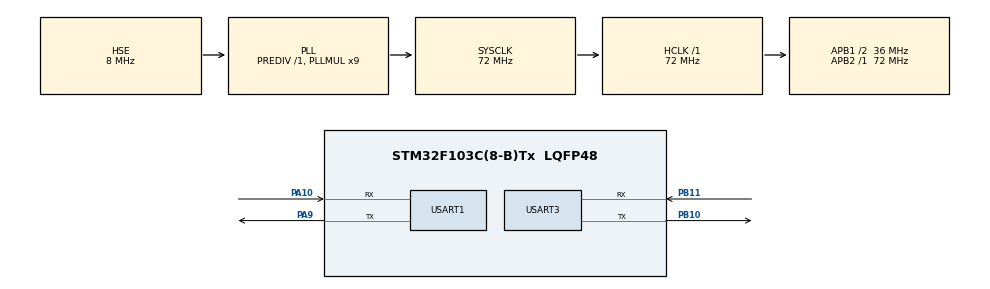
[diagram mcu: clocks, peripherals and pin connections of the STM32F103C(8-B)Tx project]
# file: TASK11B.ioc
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Mcu.Family=STM32F1
Mcu.Name=STM32F103C(8-B)Tx
Mcu.Package=LQFP48
NVIC.PriorityGroup=NVIC_PRIORITYGROUP_4
NVIC.USART1_IRQn=true\:0\:0\:false\:false\:true\:true\:true\:true
NVIC.USART3_IRQn=true\:0\:0\:false\:false\:true\:true\:true\:true
PA10.Mode=Asynchronous
PA10.Signal=USART1_RX
PA13.Mode=Serial_Wire
PA13.Signal=SYS_JTMS-SWDIO
PA14.Mode=Serial_Wire
PA14.Signal=SYS_JTCK-SWCLK
PA9.Mode=Asynchronous
PA9.Signal=USART1_TX
PB10.Mode=Asynchronous
PB10.Signal=USART3_TX
PB11.Mode=Asynchronous
PB11.Signal=USART3_RX
PD0-OSC_IN.Mode=HSE-External-Oscillator
PD0-OSC_IN.Signal=RCC_OSC_IN
PD1-OSC_OUT.Mode=HSE-External-Oscillator
PD1-OSC_OUT.Signal=RCC_OSC_OUT
ProjectManager.HeapSize=0x200
ProjectManager.StackSize=0x400
ProjectManager.TargetToolchain=MDK-ARM V5.32
RCC.AHBFreq_Value=72000000
RCC.APB1CLKDivider=RCC_HCLK_DIV2
RCC.APB1Freq_Value=36000000
RCC.APB1TimFreq_Value=72000000
RCC.APB2Freq_Value=72000000
RCC.APB2TimFreq_Value=72000000
RCC.HCLKFreq_Value=72000000
RCC.PLLMUL=RCC_PLL_MUL9
RCC.PLLSourceVirtual=RCC_PLLSOURCE_HSE
RCC.SYSCLKFreq_VALUE=72000000
RCC.SYSCLKSource=RCC_SYSCLKSOURCE_PLLCLK
RCC.USBFreq_Value=72000000
USART1.VirtualMode=VM_ASYNC
USART3.VirtualMode=VM_ASYNC
board=custom

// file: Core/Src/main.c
/* USER CODE BEGIN Header */
/**
  ******************************************************************************
  * @file           : main.c
  * @brief          : Main program body
  ******************************************************************************
  * @attention
  *
  * Copyright (c) 2026 STMicroelectronics.
  * All rights reserved.
  *
  * This software is licensed under terms that can be found in the LICENSE file
  * in the root directory of this software component.
  * If no LICENSE file comes with this software, it is provided AS-IS.
  *
  ******************************************************************************
  */
/* USER CODE END Header */
#include "main.h"

/* USER CODE BEGIN Includes */
#include <stdio.h>
#include <string.h>
/* USER CODE END Includes */

UART_HandleTypeDef huart1;
UART_HandleTypeDef huart3;

void SystemClock_Config(void);
static void MX_GPIO_Init(void);
static void MX_USART1_UART_Init(void);
static void MX_USART3_UART_Init(void);
/* USER CODE BEGIN PFP */

void send_cmds(char *cmd, uint32_t total_wait_time);
void wifi_connection(void);
void http_server_connection_static(void);
void http_server_connection_dynamic(void);
/* USER CODE END PFP */

int main(void)
{

  /* MCU Configuration--------------------------------------------------------*/

  /* Reset of all peripherals, Initializes the Flash interface and the Systick. */
  HAL_Init();

  /* Configure the system clock */
  SystemClock_Config();

  /* Initialize all configured peripherals */
  MX_GPIO_Init();
  MX_USART1_UART_Init();
  MX_USART3_UART_Init();
  /* USER CODE BEGIN 2 */

wifi_connection();
  /* USER CODE END 2 */

  /* Infinite loop */
  while (1)
  {
    /* USER CODE BEGIN 3 */
		//http_server_connection_static();
		http_server_connection_dynamic();
  }
  /* USER CODE END 3 */
}

void SystemClock_Config(void)
{
  RCC_OscInitTypeDef RCC_OscInitStruct = {0};
  RCC_ClkInitTypeDef RCC_ClkInitStruct = {0};

  /** Initializes the RCC Oscillators according to the specified parameters
  * in the RCC_OscInitTypeDef structure.
  */
  RCC_OscInitStruct.OscillatorType = RCC_OSCILLATORTYPE_HSE;
  RCC_OscInitStruct.HSEState = RCC_HSE_ON;
  RCC_OscInitStruct.HSEPredivValue = RCC_HSE_PREDIV_DIV1;
  RCC_OscInitStruct.HSIState = RCC_HSI_ON;
  RCC_OscInitStruct.PLL.PLLState = RCC_PLL_ON;
  RCC_OscInitStruct.PLL.PLLSource = RCC_PLLSOURCE_HSE;
  RCC_OscInitStruct.PLL.PLLMUL = RCC_PLL_MUL9;
  if (HAL_RCC_OscConfig(&RCC_OscInitStruct) != HAL_OK)
  {
    Error_Handler();
  }

  /** Initializes the CPU, AHB and APB buses clocks
  */
  RCC_ClkInitStruct.ClockType = RCC_CLOCKTYPE_HCLK|RCC_CLOCKTYPE_SYSCLK
                              |RCC_CLOCKTYPE_PCLK1|RCC_CLOCKTYPE_PCLK2;
  RCC_ClkInitStruct.SYSCLKSource = RCC_SYSCLKSOURCE_PLLCLK;
  RCC_ClkInitStruct.AHBCLKDivider = RCC_SYSCLK_DIV1;
  RCC_ClkInitStruct.APB1CLKDivider = RCC_HCLK_DIV2;
  RCC_ClkInitStruct.APB2CLKDivider = RCC_HCLK_DIV1;

  if (HAL_RCC_ClockConfig(&RCC_ClkInitStruct, FLASH_LATENCY_2) != HAL_OK)
  {
    Error_Handler();
  }
}

static void MX_USART1_UART_Init(void)
{

  huart1.Instance = USART1;
  huart1.Init.BaudRate = 115200;
  huart1.Init.WordLength = UART_WORDLENGTH_8B;
  huart1.Init.StopBits = UART_STOPBITS_1;
  huart1.Init.Parity = UART_PARITY_NONE;
  huart1.Init.Mode = UART_MODE_TX_RX;
  huart1.Init.HwFlowCtl = UART_HWCONTROL_NONE;
  huart1.Init.OverSampling = UART_OVERSAMPLING_16;
  if (HAL_UART_Init(&huart1) != HAL_OK)
  {
    Error_Handler();
  }

}

static void MX_USART3_UART_Init(void)
{

  huart3.Instance = USART3;
  huart3.Init.BaudRate = 115200;
  huart3.Init.WordLength = UART_WORDLENGTH_8B;
  huart3.Init.StopBits = UART_STOPBITS_1;
  huart3.Init.Parity = UART_PARITY_NONE;
  huart3.Init.Mode = UART_MODE_TX_RX;
  huart3.Init.HwFlowCtl = UART_HWCONTROL_NONE;
  huart3.Init.OverSampling = UART_OVERSAMPLING_16;
  if (HAL_UART_Init(&huart3) != HAL_OK)
  {
    Error_Handler();
  }

}

static void MX_GPIO_Init(void)
{

  /* GPIO Ports Clock Enable */
  __HAL_RCC_GPIOD_CLK_ENABLE();
  __HAL_RCC_GPIOB_CLK_ENABLE();
  __HAL_RCC_GPIOA_CLK_ENABLE();

}

/* USER CODE BEGIN 4 */
void send_cmds(char *cmd, uint32_t total_wait_time) {
	char send[100];

	snprintf(send,sizeof(send), "\r\n : %s",cmd);

	HAL_UART_Transmit(&huart3,(uint8_t *)send,strlen(send),HAL_MAX_DELAY);

	HAL_UART_Transmit(&huart1,(uint8_t *)cmd,strlen(cmd),HAL_MAX_DELAY);

	uint8_t rx_byte;
	uint32_t overall_start = HAL_GetTick();
	uint32_t last_byte_time = HAL_GetTick();

	const uint32_t idle_time = 50;

	while((HAL_GetTick() - overall_start) < total_wait_time) {
		if(HAL_UART_Receive(&huart1,&rx_byte,1,10) == HAL_OK) {

			HAL_UART_Transmit(&huart3,&rx_byte,1,HAL_MAX_DELAY);
			last_byte_time = HAL_GetTick();
		} else if((HAL_GetTick() - last_byte_time) > idle_time) {
			break;
		}
	}
}

void wifi_connection(void) {

	HAL_Delay(2000);

	//Check and get >OK
	send_cmds("AT\r\n",1000);
	HAL_Delay(1000);

	//Set Mode to Station
	send_cmds("AT+CWMODE=1\r\n",1000);
	HAL_Delay(1000);

	//Join Access Point, Connect to WIFI Network
	send_cmds("AT+CWJAP=\"SNUC\", \"snu12345\"\r\n",12000);
	HAL_Delay(1000);

	//Get IP Address
	send_cmds("AT+CIFSR\r\n",3000);
	HAL_Delay(1000);

	//Enable multiple connections
	send_cmds("AT+CIPMUX=1\r\n",1000);
	HAL_Delay(1000);

	//Start server to port 80
	send_cmds("AT+CIPSERVER=1,80\r\n",3000);
	HAL_Delay(1000);

	//Completed Message
	char *ready_msg = "\r\nSetup Complete\r\n";
  HAL_UART_Transmit(&huart3, (uint8_t*)ready_msg, strlen(ready_msg), HAL_MAX_DELAY);
}

/*void http_server_connection_static(void) {
    char rx_data[150];
    int rx_index = 0;
    uint32_t start_tick = HAL_GetTick();

    // Listen for data from ESP8266 for up to 100ms
    while ((HAL_GetTick() - start_tick) < 100) {
        uint8_t byte;
        if (HAL_UART_Receive(&huart1, &byte, 1, 10) == HAL_OK) {
            if (rx_index < sizeof(rx_data) - 1) {
                rx_data[rx_index++] = byte;
                rx_data[rx_index] = '\0';
            }
        }
    }

    // Check if an incoming HTTP request (+IPD) arrived from a browser
    char *ipd_ptr = strstr(rx_data, "+IPD,");
    if (ipd_ptr != NULL) {
        int link_id = 0;
        sscanf(ipd_ptr, "+IPD,%d,", &link_id);

        // --- STATIC HTML CONTENT ---
        char html_body[] = "<html><body><h1>Hello from STM32 Static Server!</h1><p>STATIC DATA.</p></body></html>";
        int len = strlen(html_body); // Simply measure the fixed length

        // Construct full HTTP response headers + static body
        char http_response[300];
        int total_len = snprintf(http_response, sizeof(http_response),
            "HTTP/1.1 200 OK\r\n"
            "Content-Type: text/html\r\n"
            "Content-Length: %d\r\n\r\n"
            "%s", len, html_body);

        // Send length command to ESP8266
        char send_cmd[30];
        snprintf(send_cmd, sizeof(send_cmd), "AT+CIPSEND=%d,%d\r\n", link_id, total_len);
        HAL_UART_Transmit(&huart1, (uint8_t*)send_cmd, strlen(send_cmd), HAL_MAX_DELAY);
        HAL_Delay(50);

        // Send the HTTP response
        HAL_UART_Transmit(&huart1, (uint8_t*)http_response, total_len, HAL_MAX_DELAY);
        HAL_Delay(50);

        // Close connection
        char close_cmd[30];
        snprintf(close_cmd, sizeof(close_cmd), "AT+CIPCLOSE=%d\r\n", link_id);
        HAL_UART_Transmit(&huart1, (uint8_t*)close_cmd, strlen(close_cmd), HAL_MAX_DELAY);
    }
} */

void http_server_connection_dynamic(void) {

	char rx_data[100] = {0};
	char rx_index = 0;
	uint32_t start_tick = HAL_GetTick();

//Listen for data from ESP8266 for 200ms
	while((HAL_GetTick() - start_tick) < 200) {
		uint8_t byte;

		if(HAL_UART_Receive(&huart1,&byte,1,10) == HAL_OK) {
			if(rx_index < sizeof(rx_data) - 1) {
				rx_data[rx_index++] = byte;
				rx_data[rx_index] = '\0';
			}
		}
	}

//Find in rx_data where +IPD starts. If found return position else NULL
	char *ipd_ptr = strstr(rx_data,"+IPD,"); //strstr is String search

	if(ipd_ptr != NULL) {
		//Initial link id starts with 0
		int link_id = 0;
		sscanf(ipd_ptr, "+IPD,%d,", &link_id);

        // You can read a sensor or variable here (e.g., uptime counter or ADC value)
        int uptime_seconds = HAL_GetTick() / 1000;

        char html_body[256];
        int len = snprintf(html_body, sizeof(html_body),
            "<html><head><meta http-equiv=\"refresh\" content=\"2\"></head>"
            "<body>"
            "<h1>STM32 & ESP8266 Web Server</h1>"
            "<p><b>Status:</b> Static & Dynamic Data Working!</p>"
            "<p><b>System Uptime:</b> %d seconds</p>"
            "</body></html>", uptime_seconds);

        // Construct full HTTP response
        char http_response[512];
        int total_len = snprintf(http_response, sizeof(http_response),
            "HTTP/1.1 200 OK\r\n"
            "Content-Type: text/html\r\n"
            "Content-Length: %d\r\n\r\n"
            "%s", len, html_body);

        // Send length command to ESP
        char send_cmd[30];
        snprintf(send_cmd, sizeof(send_cmd), "AT+CIPSEND=%d,%d\r\n", link_id, total_len);
        HAL_UART_Transmit(&huart1, (uint8_t*)send_cmd, strlen(send_cmd), HAL_MAX_DELAY);
        HAL_Delay(50);

        // Send the actual HTTP response
        HAL_UART_Transmit(&huart1, (uint8_t*)http_response, total_len, HAL_MAX_DELAY);
        HAL_Delay(50);

        // Close connection
        char close_cmd[30];
        snprintf(close_cmd, sizeof(close_cmd), "AT+CIPCLOSE=%d\r\n", link_id);
        HAL_UART_Transmit(&huart3, (uint8_t*)close_cmd, strlen(close_cmd), HAL_MAX_DELAY);
    }
}
/* USER CODE END 4 */

void Error_Handler(void)
{
  __disable_irq();
  while (1)
  {
  }
}
